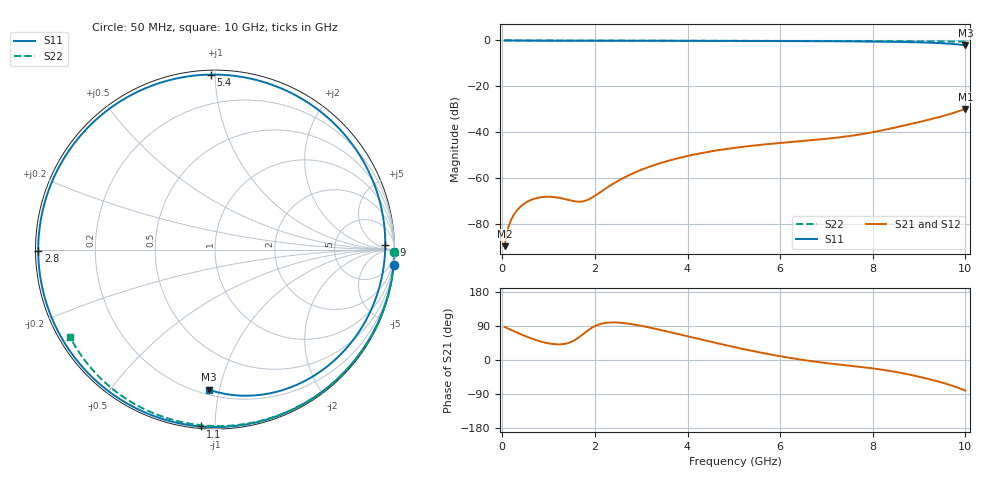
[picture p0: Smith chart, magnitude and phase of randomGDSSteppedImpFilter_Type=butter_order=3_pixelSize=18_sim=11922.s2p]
! freq	dB(S11)	phase(S11)	dB(S12)	phase(S12)
!  dB(S21)	phase(S21)	dB(S22)	phase(S22)
!S-par simulation data
#  GHz  S  DB  R 50
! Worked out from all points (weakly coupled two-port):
!   200 points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, 50 MHz to 10 GHz, reference 50 ohm
!   highest |S21| = -29.81 dB at 10 GHz (marker M1); lowest = -89.6 dB at 50 MHz (marker M2)
!   lowest |S11| = -2.1 dB at 10 GHz (marker M3), VSWR 8.17, Z = 11.6 - j46.6 ohm
!   |S11| at or under -10 dB: nowhere
!   |S22| runs from -0.5 to 0.0 dB; largest |S21 - S12| = 0
!   S11 on the Smith chart (normalised r, x): 50 MHz: 0, -23; 1.1 GHz: 0.01, -0.92; 2.8 GHz: 0.01, -0.00; 5.4 GHz: 0.02, +0.98; 7.9 GHz: 29, +16; 10 GHz: 0.23, -0.93
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0.05  -0.00 -4.9  -89.55 87.2  -89.55 87.2  -0.00 -0.9
0.15  -0.02 -14.7  -80.10 81.5  -80.10 81.5  -0.00 -2.6
0.35  -0.05 -33.6  -73.20 70.6  -73.20 70.6  -0.01 -6.0
0.6  -0.07 -56.0  -69.60 58.2  -69.60 58.2  -0.01 -10.3
0.85  -0.09 -76.4  -68.20 48.2  -68.20 48.2  -0.02 -14.6
1.1  -0.10 -94.7  -68.14 42.0  -68.14 42.0  -0.02 -18.8
1.75  -0.12 -133.5  -70.01 68.8  -70.01 68.8  -0.04 -29.8
2.25  -0.12 -157.2  -64.22 98.2  -64.22 98.2  -0.05 -38.1
2.8  -0.13 -179.5  -58.05 94.4  -58.05 94.4  -0.06 -47.0
3.4  -0.14 158.7  -53.49 79.7  -53.49 79.7  -0.08 -56.6
4.25  -0.17 129.8  -49.23 55.4  -49.23 55.4  -0.10 -69.7
5.05  -0.20 103.1  -46.66 33.0  -46.66 33.0  -0.13 -81.6
5.4  -0.22 91.3  -45.81 23.9  -45.81 23.9  -0.14 -86.7
6.05  -0.25 68.9  -44.53 8.9  -44.53 8.9  -0.17 -95.9
6.7  -0.30 45.8  -43.38 -3.5  -43.38 -3.5  -0.20 -105.0
7.3  -0.36 24.0  -42.12 -12.5  -42.12 -12.5  -0.24 -113.1
7.9  -0.45 1.7  -40.30 -20.6  -40.30 -20.6  -0.29 -121.2
8.35  -0.56 -15.5  -38.49 -28.4  -38.49 -28.4  -0.33 -127.2
8.85  -0.75 -35.2  -36.23 -40.0  -36.23 -40.0  -0.38 -133.8
9.35  -1.06 -56.6  -33.78 -54.7  -33.78 -54.7  -0.43 -140.3
9.7  -1.47 -74.0  -31.81 -67.2  -31.81 -67.2  -0.47 -145.0
10  -2.14 -92.4  -29.81 -81.0  -29.81 -81.0  -0.51 -148.9
